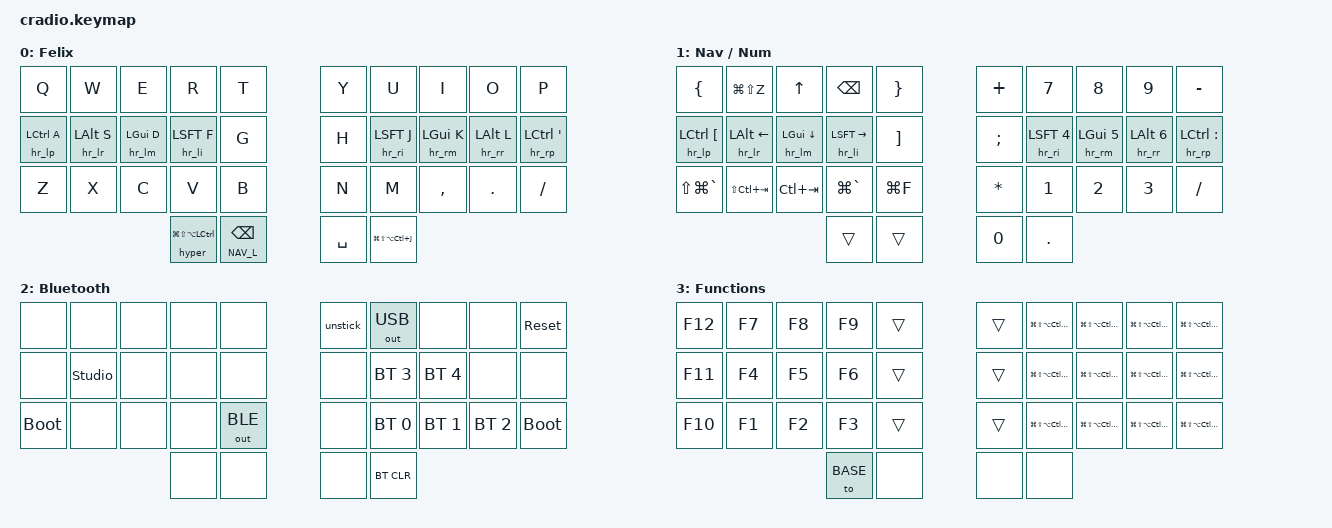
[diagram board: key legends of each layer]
#include <behaviors.dtsi>
#include <dt-bindings/zmk/keys.h>
#include <dt-bindings/zmk/bt.h>
#include <dt-bindings/zmk/outputs.h>

#define BASE 0
#define NAV_L 1
#define BT_L 2
#define FUN_L 3

// Core home-row settings from the daily-driver Glove80 QWERTY keymap.
// Opposite-hand keys and all thumbs can trigger a hold; decide on release.
#define LEFT_KEYS 0 1 2 3 4 10 11 12 13 14 20 21 22 23 24
#define RIGHT_KEYS 5 6 7 8 9 15 16 17 18 19 25 26 27 28 29
#define THUMB_KEYS 30 31 32 33
#define HOME_MOD(NAME, TERM, IDLE, OPPOSITE) \
    NAME: NAME { \
        compatible = "zmk,behavior-hold-tap"; \
        #binding-cells = <2>; \
        flavor = "tap-preferred"; \
        tapping-term-ms = <TERM>; \
        quick-tap-ms = <300>; \
        require-prior-idle-ms = <IDLE>; \
        hold-trigger-key-positions = <OPPOSITE THUMB_KEYS>; \
        hold-trigger-on-release; \
        bindings = <&kp>, <&kp>; \
    };

&lt {
    quick-tap-ms = <200>;
};

/ {
    macros {
        unstick: unstick {
            compatible = "zmk,behavior-macro";
            #binding-cells = <0>;
            bindings
                = <&macro_tap &kp LSHIFT &kp RSHIFT &kp LCTRL &kp RCTRL &kp LALT &kp RALT &kp LGUI &kp RGUI>;
        };
    };

    combos {
        #include "combos.dtsi"
    };

    behaviors {
        // One-shot multi-modifier chords: Hyper and Meh; expire if unused.
        hyper: sticky_hyper {
            compatible = "zmk,behavior-sticky-key";
            #binding-cells = <1>;
            bindings = <&kp>;
            release-after-ms = <5000>;
            quick-release;
            ignore-modifiers;
            lazy;
        };

        // Glove80 thumb timing: balanced, 200 ms hold, 300 ms repeat.
        thumb: thumb_layer {
            compatible = "zmk,behavior-hold-tap";
            #binding-cells = <2>;
            flavor = "balanced";
            tapping-term-ms = <200>;
            quick-tap-ms = <300>;
            bindings = <&mo>, <&kp>;
        };

        HOME_MOD(hr_lp, 260, 150, RIGHT_KEYS)
        HOME_MOD(hr_lr, 240, 150, RIGHT_KEYS)
        HOME_MOD(hr_lm, 210, 150, RIGHT_KEYS)
        HOME_MOD(hr_li, 170, 100, RIGHT_KEYS)
        HOME_MOD(hr_ri, 170, 100, LEFT_KEYS)
        HOME_MOD(hr_rm, 210, 150, LEFT_KEYS)
        HOME_MOD(hr_rr, 240, 150, LEFT_KEYS)
        HOME_MOD(hr_rp, 260, 150, LEFT_KEYS)

        sh: shift {
            compatible = "zmk,behavior-hold-tap";
            #binding-cells = <2>;
            tapping-term-ms = <180>;
            quick-tap-ms = <180>;
            require-prior-idle-ms = <100>;
            flavor = "hold-preferred";
            bindings = <&kp>, <&kp>;
        };

        // Legacy hold-taps retained for navigation, gaming, and thumb keys.
        hm: homerow_mods {
            compatible = "zmk,behavior-hold-tap";
            #binding-cells = <2>;
            tapping-term-ms = <200>;
            quick-tap-ms = <180>;
            require-prior-idle-ms = <125>;
            flavor = "tap-preferred";
            bindings = <&kp>, <&kp>;
        };

        skq: sticky_key_quick_release {
            compatible = "zmk,behavior-sticky-key";
            #binding-cells = <1>;
            bindings = <&kp>;
            quick-release;
            release-after-ms = <1000>;
            ignore-modifiers;
            lazy;
        };
    };

    keymap {
        compatible = "zmk,keymap";

        default_layer {
            display-name = "Felix";
            bindings = <
        &kp Q        &kp W        &kp E        &kp R        &kp T              &kp Y        &kp U        &kp I           &kp O          &kp P
        &hr_lp LCTRL A &hr_lr LALT S &hr_lm LGUI D &hr_li LSFT F &kp G              &kp H        &hr_ri LSFT J &hr_rm LGUI K &hr_rr LALT L &hr_rp LCTRL SQT
        &kp Z   &kp X  &kp C        &kp V        &kp B              &kp N        &kp M        &kp COMMA  &kp DOT  &kp FSLH
                                              &hyper LG(LS(LA(LCTRL))) &thumb NAV_L BSPC              &kp SPACE    &kp LG(LS(LA(LC(J))))
            >;
        };

        nav_layer {
            display-name = "Nav / Num";
            bindings = <
        &kp LBRC        &kp LG(LS(Z)) &kp UP          &kp BSPC          &kp RBRC      &kp PLUS &kp N7         &kp N8         &kp N9         &kp MINUS
        &hr_lp LCTRL LBKT &hr_lr LALT LEFT &hr_lm LGUI DOWN &hr_li LSFT RIGHT &kp RBKT      &kp SEMI &hr_ri LSFT N4 &hr_rm LGUI N5 &hr_rr LALT N6 &hr_rp LCTRL COLON
        &kp LS(LG(GRAVE)) &kp LS(LC(TAB)) &kp LC(TAB) &kp LG(GRAVE)       &kp LG(F)        &kp ASTRK &kp N1         &kp N2         &kp N3         &kp FSLH
                                              &trans          &trans                       &kp N0     &kp DOT
            >;
        };

        bt_layer {
            display-name = "Bluetooth";
            bindings = <
        &none &none &none &none &none                   &unstick &out OUT_USB &none &none &sys_reset
        &none &studio_unlock &none &none &none          &none &bt BT_SEL 3 &bt BT_SEL 4 &none &none
        &bootloader &none &none &none &out OUT_BLE      &none &bt BT_SEL 0 &bt BT_SEL 1 &bt BT_SEL 2 &bootloader
                                              &none &none              &none &bt BT_CLR
            >;
        };

        fun_layer {
            display-name = "Functions";
            bindings = <
        &kp F12   &kp F7   &kp F8   &kp F9   &trans   &trans   &kp LG(LS(LA(LC(F7))))   &kp LG(LS(LA(LC(F8))))   &kp LG(LS(LA(LC(F9))))   &kp LG(LS(LA(LC(F12))))
        &kp F11   &kp F4   &kp F5   &kp F6   &trans   &trans   &kp LG(LS(LA(LC(F4))))   &kp LG(LS(LA(LC(F5))))   &kp LG(LS(LA(LC(F6))))   &kp LG(LS(LA(LC(F11))))
        &kp F10   &kp F1   &kp F2   &kp F3   &trans   &trans   &kp LG(LS(LA(LC(F1))))   &kp LG(LS(LA(LC(F2))))   &kp LG(LS(LA(LC(F3))))   &kp LG(LS(LA(LC(F10))))
                                            &to BASE &none                   &none    &none
            >;
        };


    };
};
